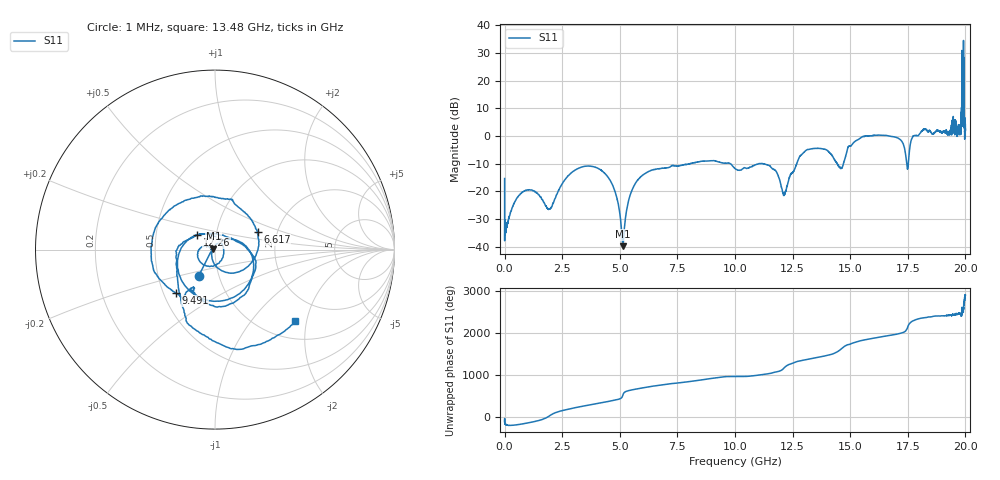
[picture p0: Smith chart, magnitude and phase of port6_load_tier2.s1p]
! Created with skrf 1.8.0 (http://scikit-rf.org).
# GHz S RI R 50.0
!freq ReS11 ImS11
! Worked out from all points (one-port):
!   10001 points, 1 MHz to 20 GHz, reference 50 ohm
!   lowest |S11| = -39.8 dB at 5.131 GHz (marker M1), VSWR 1.02, Z = 49.1 + j0.544 ohm
!   |S11| at or under -10 dB: start of sweep to 8.038 GHz; 9.809 GHz to 11.01 GHz (1.205 GHz wide, 11.6 % of centre); 11.22 GHz to 12.68 GHz (1.461 GHz wide, 12.2 % of centre) (the widest 3 of 6)
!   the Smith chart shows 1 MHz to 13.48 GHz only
!   S11 on the Smith chart (normalised r, x): 1 MHz: 0.80, -0.24; 6.617 GHz: 1.58, +0.33; 9.491 GHz: 0.58, -0.31; 12.26 GHz: 0.81, +0.13; 13.48 GHz: 1.40, -1.73
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0.001  -0.0902 -0.1456
2.500875  -0.1151 0.0761
4.090795  0.2032 -0.1575
5.00075  0.0162 0.0366
5.130744  -0.00864 0.00554
5.634718  0.0469 -0.1214
6.616669  0.2372 0.0987
7.500625  0.0383 0.2845
9.490526  -0.2188 -0.2413
10.0005  -0.1393 -0.2199
12.26439  -0.0975 0.0816
12.50038  -0.2143 -0.0385
13.47633  0.4514 -0.3963
14.32428  0.1039 0.3537
14.66027  -0.2609 -0.0885
15.00025  0.2082 -0.6273
15.50422  0.9287 0.2594
16.16419  0.1183 1.029
17.05015  -0.9092 0.1924
17.50013  0.2484 -0.0946
17.71211  -0.4637 0.8509
18.20809  -1.283 -0.3202
19.74401  0.2838 -1.105
19.81401  -0.0669 -1.727
19.82201  -0.441 -2.249
19.86401  1.571 0.5721
19.944  -1.869 0.0838
20  1.277 0.3956
